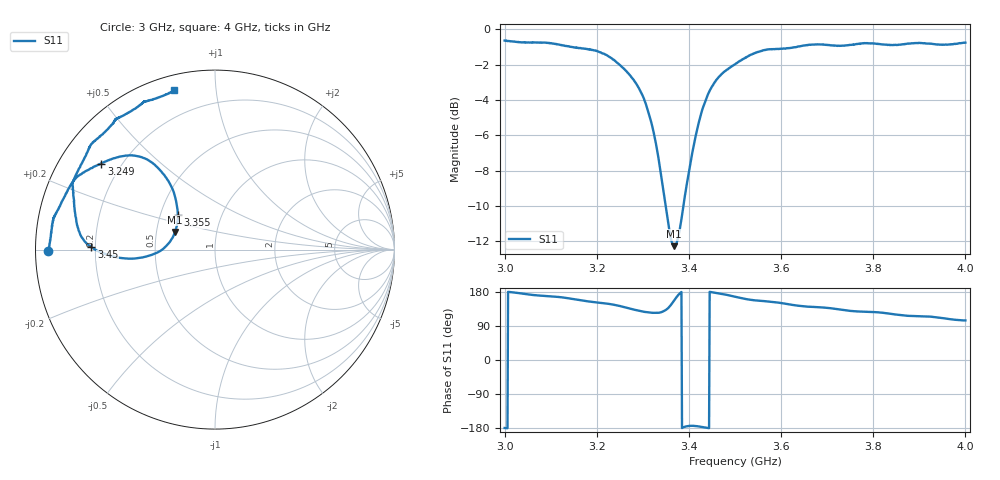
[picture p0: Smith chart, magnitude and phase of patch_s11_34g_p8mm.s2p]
!Agilent Technologies,E8358A,US40260201,A.04.06
!Agilent E8358A: A.04.06
!Date: Thursday, February 16, 2012 11:40:28
!Correction: S11(Full 1 Port,1) S21(Off) S12(Off) S22(Off)
!S2P File: Measurements: S11, S21, S12, S22:
# Hz S  MA  R 50
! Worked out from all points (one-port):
!   801 points, 3 GHz to 4 GHz, reference 50 ohm
!   lowest |S11| = -12.3 dB at 3.368 GHz (marker M1), VSWR 1.64, Z = 31.3 + j6.49 ohm
!   |S11| at or under -10 dB: 3.349 GHz to 3.388 GHz (38.55 MHz wide, 1.14 % of centre)
!   S11 on the Smith chart (normalised r, x): 3 GHz: 0.04, -0.00; 3.249 GHz: 0.13, +0.33; 3.355 GHz: 0.62, +0.26; 3.45 GHz: 0.18, +0.01; 4 GHz: 0.07, +0.77
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3e9  0.9287 -179.4  1e-10 45.0  1e-10 45.0  1e-10 45.0
3.105e9  0.9106 167.6  1e-10 45.0  1e-10 45.0  1e-10 45.0
3.1675e9  0.8823 157.1  1e-10 45.0  1e-10 45.0  1e-10 45.0
3.21875e9  0.8472 149.5  1e-10 45.0  1e-10 45.0  1e-10 45.0
3.24875e9  0.7946 142.9  1e-10 45.0  1e-10 45.0  1e-10 45.0
3.29625e9  0.6618 128.7  1e-10 45.0  1e-10 45.0  1e-10 45.0
3.33375e9  0.4333 124.6  1e-10 45.0  1e-10 45.0  1e-10 45.0
3.355e9  0.2824 137.1  1e-10 45.0  1e-10 45.0  1e-10 45.0
3.3675e9  0.2433 156.3  1e-10 45.0  1e-10 45.0  1e-10 45.0
3.37875e9  0.2662 173.9  1e-10 45.0  1e-10 45.0  1e-10 45.0
3.40375e9  0.4207 -173.8  1e-10 45.0  1e-10 45.0  1e-10 45.0
3.425e9  0.5671 -176.1  1e-10 45.0  1e-10 45.0  1e-10 45.0
3.45e9  0.6885 178.9  1e-10 45.0  1e-10 45.0  1e-10 45.0
3.5e9  0.7954 167.0  1e-10 45.0  1e-10 45.0  1e-10 45.0
3.53375e9  0.8465 158.9  1e-10 45.0  1e-10 45.0  1e-10 45.0
3.57375e9  0.8775 154.2  1e-10 45.0  1e-10 45.0  1e-10 45.0
3.6675e9  0.9048 140.1  1e-10 45.0  1e-10 45.0  1e-10 45.0
3.76375e9  0.9082 128.3  1e-10 45.0  1e-10 45.0  1e-10 45.0
3.83375e9  0.903 122.6  1e-10 45.0  1e-10 45.0  1e-10 45.0
3.87125e9  0.9085 117.0  1e-10 45.0  1e-10 45.0  1e-10 45.0
3.925e9  0.9103 114.2  1e-10 45.0  1e-10 45.0  1e-10 45.0
4e9  0.9163 104.4  1e-10 45.0  1e-10 45.0  1e-10 45.0
